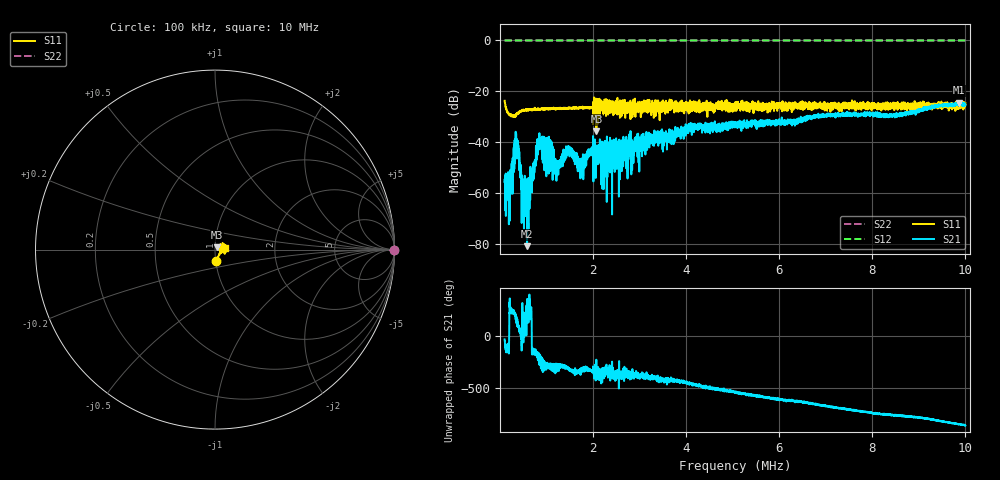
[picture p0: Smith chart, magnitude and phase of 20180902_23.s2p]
! Anritsu VNA Master:  Model: MS2026C/19
! SN:  1815009
! /card0/usr/20180902_23.s2p
! Existing Calibration Information:
! TYPE:  Current Settings,  Active Cal Settings
! TIME:  09/02/2018 02:28:46 PM,  09/02/2018 11:58:48 AM
! INTERNAL TEMP:  48.0 C,  48.8 C
! # POINTS:  4001,  4001
! START FREQ:  100.000 kHz,  100.000 kHz
! STOP FREQ:  10.000 MHz,  10.000 MHz
! SOURCE POWER:  Low,  Low
! IFBW:  500 Hz,  500 Hz
! AVG FACTOR:  1 ,  1
! REF PLANE 1:  0 mm,  0 mm
! REF PLANE 2:  0 mm,  0 mm
! CAL TYPE:  1P2P S11,S21,  1P2P S11,S21
! CAL METHOD:  SOLT,  SOLT
! CAL LINE TYPE:  Coax,  Coax
! DUT PORT 1:  N-Conn(M),  N-Conn(M)
! DUT PORT 2:  N-Conn(M),  N-Conn(M)
! CAL STATUS:  OK: Accuracy High,  --
# GHZ S RI R 50.0
! FREQ.GHZ  S11RE  S11IM  S21RE  S21IM  S12RE  S12IM  S22RE  S22IM
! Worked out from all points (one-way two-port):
!   4001 points, 100 kHz to 10 MHz, reference 50 ohm
!   highest |S21| = -24.39 dB at 9.859 MHz (marker M1); lowest = -80.9 dB at 582.6 kHz (marker M2)
!   lowest |S11| = -35.7 dB at 2.073 MHz (marker M3), VSWR 1.03, Z = 50.9 + j1.38 ohm
!   |S11| at or under -10 dB: start of sweep to end of sweep
!   |S22| runs from 0.0 to 0.0 dB; largest |S21 - S12| = 1
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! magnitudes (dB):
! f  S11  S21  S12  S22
! 100 kHz  -23.7  -55.6  0.0  0.0
! 164.3 kHz  -28.0  -57.8  0.0  0.0
! 231.2 kHz  -29.5  -52.3  0.0  0.0
! 322.8 kHz  -29.8  -47.2  0.0  0.0
! 364.8 kHz  -28.6  -40.5  0.0  0.0
! 498.5 kHz  -27.2  -59.5  0.0  0.0
! 582.6 kHz  -27.3  -80.9  0.0  0.0
! 869.7 kHz  -27.1  -42.6  0.0  0.0
! 1.048 MHz  -26.7  -52.3  0.0  0.0
! 1.224 MHz  -26.7  -48.7  0.0  0.0
! 1.493 MHz  -26.3  -42.3  0.0  0.0
! 1.751 MHz  -26.5  -49.6  0.0  0.0
! 1.951 MHz  -26.5  -43.7  0.0  0.0
! 2.073 MHz  -35.7  -41.7  0.0  0.0
! 2.461 MHz  -26.7  -44.1  0.0  0.0
! 2.605 MHz  -27.8  -40.2  0.0  0.0
! 3.402 MHz  -28.0  -41.4  0.0  0.0
! 5.05 MHz  -24.4  -32.4  0.0  0.0
! 6.701 MHz  -26.1  -29.9  0.0  0.0
! 8.352 MHz  -26.1  -29.9  0.0  0.0
! 9.859 MHz  -26.5  -24.4  0.0  0.0
! 10 MHz  -24.7  -25.5  0.0  0.0
